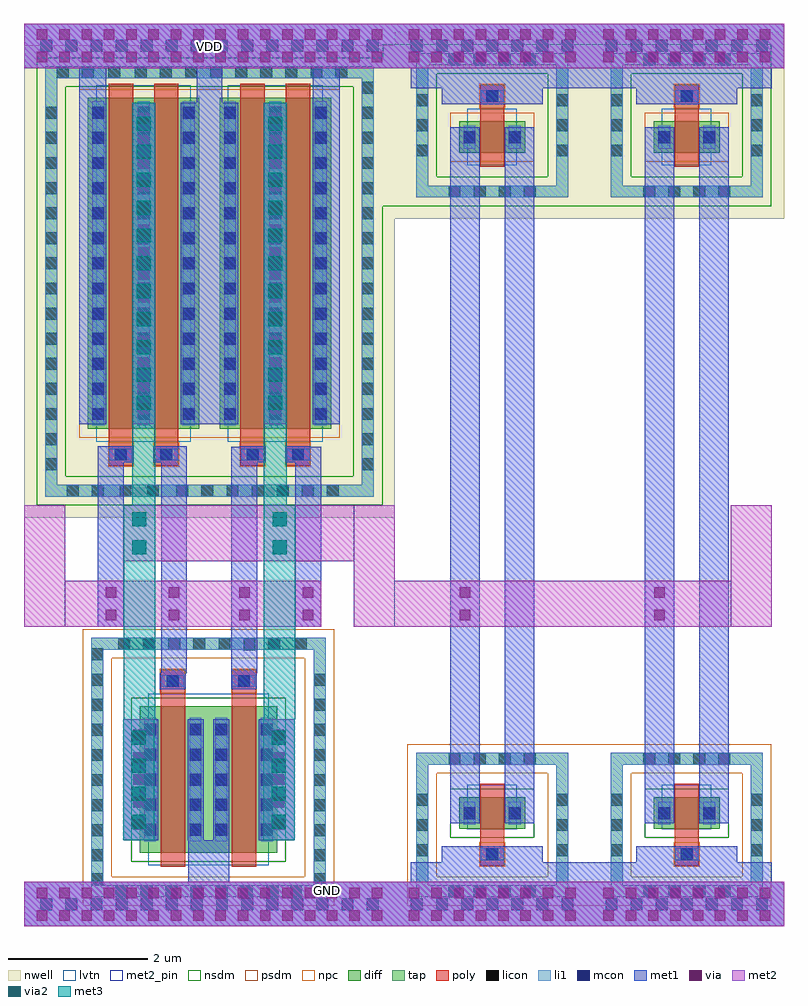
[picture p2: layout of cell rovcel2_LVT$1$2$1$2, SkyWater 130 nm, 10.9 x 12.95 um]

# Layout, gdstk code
from math import pi, radians
import gdstk
lib = gdstk.Library(unit=1e-6, precision=1e-09)
def R(c, l, rs):  # rectangles x0, y0, x1, y1
    for r in rs: c.add(gdstk.rectangle(r[:2], r[2:], *l))
def A(c, l, x, y, w, h, nx, ny, dx, dy):  # array of equal rectangles
    R(c, l, [(x+i*dx, y+j*dy, x+i*dx+w, y+j*dy+h) for i in range(nx) for j in range(ny)])
def P(c, l, *ps):  # polygons
    for p in ps: c.add(gdstk.Polygon(p, *l))
nwell = (64, 20)
diff = (65, 20)
tap = (65, 44)
poly = (66, 20)
licon = (66, 44)
li1 = (67, 20)
mcon = (67, 44)
met1 = (68, 20)
via = (68, 44)
met2_pin = (69, 16)
met2 = (69, 20)
via2 = (69, 44)
met3 = (70, 20)
nsdm = (93, 44)
psdm = (94, 20)
npc = (95, 20)
lvtn = (125, 44)

vias_gen_7_1_2_1_2 = lib.new_cell('vias_gen$7$1$2$1$2')

nfet_2_1_2_1_2 = lib.new_cell('nfet$2$1$2$1$2')

vias_gen_18_1_2_1_2 = lib.new_cell('vias_gen$18$1$2$1$2')

pfet_2_1_2_1_2 = lib.new_cell('pfet$2$1$2$1$2')

vias_gen_6_1_2_1_2 = lib.new_cell('vias_gen$6$1$2$1$2')

vias_gen_2_1_1_2_1_2 = lib.new_cell('vias_gen$2$1$1$2$1$2')

vias_gen_10_1_2_1_2 = lib.new_cell('vias_gen$10$1$2$1$2')

vias_gen_17_1_2_1_2 = lib.new_cell('vias_gen$17$1$2$1$2')
R(vias_gen_17_1_2_1_2, li1, [(0,0,2.79,0.64)])
A(vias_gen_17_1_2_1_2, mcon, 0.23, 0.235, 0.17, 0.17, 7, 1, 0.36, 0)
R(vias_gen_17_1_2_1_2, met1, [(0,0,2.79,0.64)])
A(vias_gen_17_1_2_1_2, via, 0.2, 0.085, 0.15, 0.15, 8, 2, 0.32, 0.32)
R(vias_gen_17_1_2_1_2, met2, [(0,0,2.79,0.64)])

vias_gen_8_1_2_1_2 = lib.new_cell('vias_gen$8$1$2$1$2')
R(vias_gen_8_1_2_1_2, met1, [(0,0,0.66,0.42)])
R(vias_gen_8_1_2_1_2, via, [(0.095,0.135,0.245,0.285), (0.415,0.135,0.565,0.285)])
R(vias_gen_8_1_2_1_2, met2, [(0,0,0.66,0.42)])

pfet_5_1_2_1_2 = lib.new_cell('pfet$5$1$2$1$2')
R(pfet_5_1_2_1_2, nwell, [(-0.92,-0.945,1.87,1.735)])
R(pfet_5_1_2_1_2, diff, [(0,0,0.95,0.45)])
P(pfet_5_1_2_1_2, tap, [(-0.615,-0.64),(-0.615,1.26),(-0.445,1.26),(-0.445,-0.47),(1.395,-0.47),(1.395,1.26),(-0.615,1.26),(-0.615,1.43),(1.565,1.43),(1.565,-0.64)])
R(pfet_5_1_2_1_2, poly, [(0.3,-0.2,0.65,0.65), (0.3,0.65,0.65,0.98)])
A(pfet_5_1_2_1_2, licon, -0.15, -0.64, 0.17, 0.17, 4, 2, 0.36, 1.9)
A(pfet_5_1_2_1_2, licon, -0.615, -0.05, 0.17, 0.17, 1, 3, 0, 0.36)
A(pfet_5_1_2_1_2, licon, 1.395, -0.05, 0.17, 0.17, 1, 3, 0, 0.36)
R(pfet_5_1_2_1_2, licon, [(0.065,0.14,0.235,0.31), (0.715,0.14,0.885,0.31), (0.39,0.73,0.56,0.9)])
R(pfet_5_1_2_1_2, li1, [(0.065,0.06,0.235,0.39), (0.715,0.06,0.885,0.39), (0.31,0.73,0.64,0.9)])
P(pfet_5_1_2_1_2, li1, [(-0.615,-0.64),(-0.615,1.26),(-0.445,1.26),(-0.445,-0.47),(1.395,-0.47),(1.395,1.26),(-0.615,1.26),(-0.615,1.43),(1.565,1.43),(1.565,-0.64)])
R(pfet_5_1_2_1_2, mcon, [(0.065,0.14,0.235,0.31), (0.715,0.14,0.885,0.31), (0.39,0.73,0.56,0.9)])
R(pfet_5_1_2_1_2, met1, [(0.005,0.08,0.295,0.37), (0.655,0.08,0.945,0.37), (0.29,0.7,0.66,0.93)])
P(pfet_5_1_2_1_2, nsdm, [(-0.74,-0.765),(-0.74,1.135),(-0.32,1.135),(-0.32,-0.345),(1.27,-0.345),(1.27,1.135),(-0.74,1.135),(-0.74,1.555),(1.69,1.555),(1.69,-0.765)])
R(pfet_5_1_2_1_2, psdm, [(-0.125,-0.125,1.075,0.575)])
R(pfet_5_1_2_1_2, npc, [(0.29,0.64,0.66,0.99)])
R(pfet_5_1_2_1_2, lvtn, [(0.12,-0.18,0.83,0.63)])

vias_gen_12_1_2_1_2 = lib.new_cell('vias_gen$12$1$2$1$2')
R(vias_gen_12_1_2_1_2, met2, [(0,0,0.45,0.8)])
R(vias_gen_12_1_2_1_2, via2, [(0.125,0.1,0.325,0.3), (0.125,0.5,0.325,0.7)])
R(vias_gen_12_1_2_1_2, met3, [(0,0,0.45,0.8)])

vias_gen_13_1_2_1_2 = lib.new_cell('vias_gen$13$1$2$1$2')
R(vias_gen_13_1_2_1_2, met1, [(0,0,4.61,0.33)])
A(vias_gen_13_1_2_1_2, via, 0.15, 0.09, 0.15, 0.15, 14, 1, 0.32, 0)
R(vias_gen_13_1_2_1_2, met2, [(0,0,4.61,0.33)])
A(vias_gen_13_1_2_1_2, via2, 0.205, 0.065, 0.2, 0.2, 11, 1, 0.4, 0)
R(vias_gen_13_1_2_1_2, met3, [(0,0,4.61,0.33)])

pfet_4_1_2_1_2 = lib.new_cell('pfet$4$1$2$1$2')
R(pfet_4_1_2_1_2, nwell, [(-0.305,-0.72,1.255,5.13)])
R(pfet_4_1_2_1_2, diff, [(0,0,0.95,4.75)])
R(pfet_4_1_2_1_2, poly, [(0.3,-0.53,0.65,-0.2), (0.3,-0.2,0.65,4.95)])
A(pfet_4_1_2_1_2, licon, 0.065, 0.13, 0.17, 0.17, 1, 13, 0, 0.36)
A(pfet_4_1_2_1_2, licon, 0.715, 0.13, 0.17, 0.17, 1, 13, 0, 0.36)
R(pfet_4_1_2_1_2, licon, [(0.39,-0.45,0.56,-0.28)])
R(pfet_4_1_2_1_2, li1, [(0.31,-0.45,0.64,-0.28), (0.065,0.05,0.235,4.7), (0.715,0.05,0.885,4.7)])
A(pfet_4_1_2_1_2, mcon, 0.065, 0.13, 0.17, 0.17, 1, 13, 0, 0.36)
A(pfet_4_1_2_1_2, mcon, 0.715, 0.13, 0.17, 0.17, 1, 13, 0, 0.36)
R(pfet_4_1_2_1_2, mcon, [(0.39,-0.45,0.56,-0.28)])
R(pfet_4_1_2_1_2, met1, [(0.29,-0.48,0.66,-0.25), (0.035,0.07,0.265,4.68), (0.685,0.07,0.915,4.68)])
R(pfet_4_1_2_1_2, psdm, [(-0.125,-0.125,1.075,4.875)])
R(pfet_4_1_2_1_2, npc, [(0.29,-0.54,0.66,-0.19)])
R(pfet_4_1_2_1_2, lvtn, [(0.12,-0.18,0.83,4.93)])

vias_gen_14_1_2_1_2 = lib.new_cell('vias_gen$14$1$2$1$2')
R(vias_gen_14_1_2_1_2, met1, [(0,0,0.37,0.66)])
R(vias_gen_14_1_2_1_2, via, [(0.11,0.095,0.26,0.245), (0.11,0.415,0.26,0.565)])
R(vias_gen_14_1_2_1_2, met2, [(0,0,0.37,0.66)])

vias_gen_15_1_2_1_2 = lib.new_cell('vias_gen$15$1$2$1$2')
R(vias_gen_15_1_2_1_2, li1, [(0,0,5.32,0.64)])
A(vias_gen_15_1_2_1_2, mcon, 0.235, 0.235, 0.17, 0.17, 14, 1, 0.36, 0)
R(vias_gen_15_1_2_1_2, met1, [(0,0,5.32,0.64)])
A(vias_gen_15_1_2_1_2, via, 0.185, 0.085, 0.15, 0.15, 16, 2, 0.32, 0.32)
R(vias_gen_15_1_2_1_2, met2, [(0,0,5.32,0.64)])

nfet_4_2_1_2 = lib.new_cell('nfet$4$2$1$2')
R(nfet_4_2_1_2, diff, [(0,0,0.95,2.1)])
R(nfet_4_2_1_2, poly, [(0.3,-0.2,0.65,2.3), (0.3,2.3,0.65,2.63)])
A(nfet_4_2_1_2, licon, 0.065, 0.245, 0.17, 0.17, 1, 5, 0, 0.36)
A(nfet_4_2_1_2, licon, 0.715, 0.245, 0.17, 0.17, 1, 5, 0, 0.36)
R(nfet_4_2_1_2, licon, [(0.39,2.38,0.56,2.55)])
R(nfet_4_2_1_2, li1, [(0.065,0.165,0.235,1.935), (0.715,0.165,0.885,1.935), (0.31,2.38,0.64,2.55)])
A(nfet_4_2_1_2, mcon, 0.065, 0.245, 0.17, 0.17, 1, 5, 0, 0.36)
A(nfet_4_2_1_2, mcon, 0.715, 0.245, 0.17, 0.17, 1, 5, 0, 0.36)
R(nfet_4_2_1_2, mcon, [(0.39,2.38,0.56,2.55)])
R(nfet_4_2_1_2, met1, [(0.035,0.185,0.265,1.915), (0.685,0.185,0.915,1.915), (0.29,2.35,0.66,2.58)])
R(nfet_4_2_1_2, nsdm, [(-0.125,-0.125,1.075,2.225)])
R(nfet_4_2_1_2, npc, [(0.29,2.29,0.66,2.64)])
R(nfet_4_2_1_2, lvtn, [(0.12,-0.18,0.83,2.28)])

vias_gen_16_1_2_1_2 = lib.new_cell('vias_gen$16$1$2$1$2')
R(vias_gen_16_1_2_1_2, met1, [(0,0,1.73,0.45)])
A(vias_gen_16_1_2_1_2, via, 0.15, 0.15, 0.15, 0.15, 5, 1, 0.32, 0)
R(vias_gen_16_1_2_1_2, met2, [(0,0,1.73,0.45)])
A(vias_gen_16_1_2_1_2, via2, 0.165, 0.125, 0.2, 0.2, 4, 1, 0.4, 0)
R(vias_gen_16_1_2_1_2, met3, [(0,0,1.73,0.45)])

nfet_3_1_2_1_2 = lib.new_cell('nfet$3$1$2$1$2')
R(nfet_3_1_2_1_2, diff, [(0,0,0.95,0.45)])
P(nfet_3_1_2_1_2, tap, [(-0.615,-0.98),(-0.615,0.92),(-0.445,0.92),(-0.445,-0.81),(1.395,-0.81),(1.395,0.92),(-0.615,0.92),(-0.615,1.09),(1.565,1.09),(1.565,-0.98)])
R(nfet_3_1_2_1_2, poly, [(0.3,-0.53,0.65,-0.2), (0.3,-0.2,0.65,0.65)])
A(nfet_3_1_2_1_2, licon, -0.15, -0.98, 0.17, 0.17, 4, 2, 0.36, 1.9)
A(nfet_3_1_2_1_2, licon, -0.615, -0.39, 0.17, 0.17, 1, 3, 0, 0.36)
A(nfet_3_1_2_1_2, licon, 1.395, -0.39, 0.17, 0.17, 1, 3, 0, 0.36)
R(nfet_3_1_2_1_2, licon, [(0.39,-0.45,0.56,-0.28), (0.065,0.14,0.235,0.31), (0.715,0.14,0.885,0.31)])
R(nfet_3_1_2_1_2, li1, [(0.31,-0.45,0.64,-0.28), (0.065,0.06,0.235,0.39), (0.715,0.06,0.885,0.39)])
P(nfet_3_1_2_1_2, li1, [(-0.615,-0.98),(-0.615,0.92),(-0.445,0.92),(-0.445,-0.81),(1.395,-0.81),(1.395,0.92),(-0.615,0.92),(-0.615,1.09),(1.565,1.09),(1.565,-0.98)])
R(nfet_3_1_2_1_2, mcon, [(0.39,-0.45,0.56,-0.28), (0.065,0.14,0.235,0.31), (0.715,0.14,0.885,0.31)])
R(nfet_3_1_2_1_2, met1, [(0.29,-0.48,0.66,-0.25), (0.005,0.08,0.295,0.37), (0.655,0.08,0.945,0.37)])
R(nfet_3_1_2_1_2, nsdm, [(-0.125,-0.125,1.075,0.575)])
P(nfet_3_1_2_1_2, psdm, [(-0.74,-1.105),(-0.74,0.795),(-0.32,0.795),(-0.32,-0.685),(1.27,-0.685),(1.27,0.795),(-0.74,0.795),(-0.74,1.215),(1.69,1.215),(1.69,-1.105)])
R(nfet_3_1_2_1_2, npc, [(0.29,-0.54,0.66,-0.19)])
R(nfet_3_1_2_1_2, lvtn, [(0.12,-0.005,0.83,0.63)])

sky130_fd_sc_hd__inv_1_1 = lib.new_cell('sky130_fd_sc_hd__inv_1$1$2$1$2')

rovcel2_lvt_1_2_1_2 = lib.new_cell('rovcel2_LVT$1$2$1$2')
R(rovcel2_lvt_1_2_1_2, nwell, [(-2.63,4.965,2.69,11.745)])
R(rovcel2_lvt_1_2_1_2, diff, [(-0.02,0.16,0.05,2.26), (-0.91,6.24,-0.755,10.99)])
R(rovcel2_lvt_1_2_1_2, tap, [(-1.665,-0.475,-1.495,3.245), (-1.495,-0.475,1.525,-0.305), (1.525,-0.475,1.695,3.245), (-1.495,3.075,1.525,3.245), (-2.325,5.27,2.215,5.44), (-2.325,5.27,-2.155,11.27), (-2.155,5.27,1.735,5.44), (2.215,5.27,2.385,11.27), (-2.325,11.27,2.385,11.44)])
A(rovcel2_lvt_1_2_1_2, licon, -0.6, -0.475, 0.17, 0.17, 3, 1, 0.36, 0)
A(rovcel2_lvt_1_2_1_2, licon, -1.665, 0.04, 0.17, 0.17, 1, 8, 0, 0.36)
A(rovcel2_lvt_1_2_1_2, licon, 1.525, 0.04, 0.17, 0.17, 1, 8, 0, 0.36)
A(rovcel2_lvt_1_2_1_2, licon, -1.28, 3.075, 0.17, 0.17, 5, 1, 0.36, 0)
A(rovcel2_lvt_1_2_1_2, licon, -0.445, 5.27, 0.17, 0.17, 7, 1, 0.36, 0)
A(rovcel2_lvt_1_2_1_2, licon, -2.325, 5.65, 0.17, 0.17, 1, 15, 0, 0.36)
A(rovcel2_lvt_1_2_1_2, licon, 2.215, 5.65, 0.17, 0.17, 1, 16, 0, 0.36)
A(rovcel2_lvt_1_2_1_2, licon, -1.8, 11.27, 0.17, 0.17, 3, 1, 0.38, 0)
A(rovcel2_lvt_1_2_1_2, licon, -0.68, 11.27, 0.17, 0.17, 7, 1, 0.36, 0)
R(rovcel2_lvt_1_2_1_2, licon, [(0.48,-0.48,0.65,-0.31), (-1.315,-0.475,-1.145,-0.305), (-0.955,-0.475,-0.785,-0.305), (0.845,-0.475,1.015,-0.305), (1.185,-0.475,1.355,-0.305), (-1.665,-0.305,-1.495,-0.135), (1.525,-0.305,1.695,-0.135), (-1.665,2.925,-1.495,3.095), (0.52,3.07,0.69,3.24), (0.875,3.075,1.045,3.245), (1.255,3.075,1.425,3.245), (-2.015,5.27,-1.845,5.44), (-1.655,5.27,-1.485,5.44), (-1.26,5.27,-1.09,5.44), (-1.26,5.27,-1.09,5.44), (-0.865,5.27,-0.695,5.44), (-0.865,5.27,-0.695,5.44), (-2.16,11.27,-1.99,11.44), (1.835,11.27,2.005,11.44)])
R(rovcel2_lvt_1_2_1_2, li1, [(-1.665,-0.475,-1.495,3.245), (-1.495,-0.475,1.525,-0.305), (1.525,-0.475,1.695,3.245), (-1.13,-0.425,1.32,-0.255), (-1.495,3.075,1.525,3.245), (-2.325,5.27,2.215,5.44), (-2.325,5.27,-2.155,11.27), (2.215,5.27,2.385,11.27), (-2.325,11.27,2.385,11.44)])
R(rovcel2_lvt_1_2_1_2, met1, [(-0.275,-0.26,0.315,0.345), (2.915,-0.255,8.095,0.025), (3.36,0.025,4.81,0.255), (6.15,0.025,7.6,0.255), (3.485,0.585,3.905,10.57), (4.265,0.585,4.685,10.57), (6.275,0.585,6.695,10.57), (7.055,0.585,7.475,10.57), (-0.665,2.74,-0.295,3.405), (0.345,2.74,0.715,3.405), (-1.57,4.065,-1.2,5.99), (-0.665,4.065,-0.295,5.99), (0.345,4.065,0.715,5.985), (1.26,4.065,1.63,5.985), (-1.84,6.31,-1.45,11.415), (-0.15,6.31,0.21,11.42), (1.51,6.31,1.9,11.415), (3.36,10.9,4.81,11.13), (6.15,10.9,7.6,11.13), (2.915,11.13,8.095,11.415)])
R(rovcel2_lvt_1_2_1_2, met2_pin, [(-2.63,-0.895,2.69,-0.255), (2.69,-0.895,5.48,-0.255), (5.48,-0.895,8.27,-0.255), (-2.63,3.405,-2.04,5.145), (2.1,3.405,2.69,5.145), (7.505,3.405,8.095,4.065), (7.505,3.405,8.095,5.145), (-2.63,11.415,2.69,12.055), (-2.08,11.415,8.12,12.055), (2.69,11.415,5.48,12.055), (5.48,11.415,8.27,12.055)])
R(rovcel2_lvt_1_2_1_2, met2, [(-2.63,-0.895,2.69,-0.255), (-2.63,3.405,1.63,4.065), (2.1,3.405,2.69,4.395), (2.69,3.405,8.095,4.065), (7.505,3.405,8.095,5.145), (-2.63,4.065,-2.04,5.145), (-1.2,4.345,2.69,5.145), (-2.63,11.415,2.69,12.055)])
R(rovcel2_lvt_1_2_1_2, met3, [(-1.2,2.075,-0.75,4.395), (0.81,2.075,1.26,4.395), (-1.08,5.145,-0.75,6.31), (0.81,5.145,1.14,6.31)])
R(rovcel2_lvt_1_2_1_2, nsdm, [(-2.45,5.145,2.515,5.565), (-2.05,5.145,2.515,5.565), (-2.05,5.145,2.515,5.565), (-2.05,5.145,2.515,5.565), (-2.45,5.565,-2.03,11.145), (2.095,5.565,2.515,11.145), (2.095,5.565,2.515,11.145), (2.515,9.435,2.87,11.755), (5.3,9.435,5.66,11.755), (-2.45,11.145,2.515,11.565)])
R(rovcel2_lvt_1_2_1_2, psdm, [(-1.79,-0.6,-1.37,3.37), (-1.37,-0.6,1.4,-0.18), (1.4,-0.6,1.82,3.37), (5.3,-0.6,5.66,1.72), (-1.37,2.95,1.4,3.37), (0.01,6.115,0.05,11.115)])
R(rovcel2_lvt_1_2_1_2, lvtn, [(-0.14,-0.02,0.17,2.44)])
rovcel2_lvt_1_2_1_2.add(gdstk.Reference(vias_gen_7_1_2_1_2, (-5.965,-3.4), rotation=pi/2))
rovcel2_lvt_1_2_1_2.add(gdstk.Reference(vias_gen_7_1_2_1_2, (-3.955,-3.4), rotation=pi/2))
rovcel2_lvt_1_2_1_2.add(gdstk.Reference(nfet_2_1_2_1_2, (-4.205,-3.585), rotation=pi, x_reflection=True))
rovcel2_lvt_1_2_1_2.add(gdstk.Reference(nfet_2_1_2_1_2, (-5.225,-3.585), rotation=pi, x_reflection=True))
rovcel2_lvt_1_2_1_2.add(gdstk.Reference(vias_gen_18_1_2_1_2, (-7.835,7.67)))
rovcel2_lvt_1_2_1_2.add(gdstk.Reference(pfet_2_1_2_1_2, (-5.03,2.49)))
rovcel2_lvt_1_2_1_2.add(gdstk.Reference(vias_gen_6_1_2_1_2, (-6.775,-0.34)))
rovcel2_lvt_1_2_1_2.add(gdstk.Reference(vias_gen_6_1_2_1_2, (-3.945,-0.34)))
rovcel2_lvt_1_2_1_2.add(gdstk.Reference(vias_gen_6_1_2_1_2, (-5.87,-0.34)))
rovcel2_lvt_1_2_1_2.add(gdstk.Reference(vias_gen_18_1_2_1_2, (-7.845,-4.64)))
rovcel2_lvt_1_2_1_2.add(gdstk.Reference(pfet_2_1_2_1_2, (-6.27,2.495)))
rovcel2_lvt_1_2_1_2.add(gdstk.Reference(vias_gen_6_1_2_1_2, (-4.86,-0.34)))
rovcel2_lvt_1_2_1_2.add(gdstk.Reference(pfet_2_1_2_1_2, (-4.38,2.49)))
rovcel2_lvt_1_2_1_2.add(gdstk.Reference(vias_gen_2_1_1_2_1_2, (-6.405,0.6)))
rovcel2_lvt_1_2_1_2.add(gdstk.Reference(vias_gen_10_1_2_1_2, (-5.955,2.565), rotation=pi/2))
rovcel2_lvt_1_2_1_2.add(gdstk.Reference(pfet_2_1_2_1_2, (-6.92,2.495)))
rovcel2_lvt_1_2_1_2.add(gdstk.Reference(vias_gen_10_1_2_1_2, (-4.065,2.565), rotation=pi/2))
rovcel2_lvt_1_2_1_2.add(gdstk.Reference(vias_gen_2_1_1_2_1_2, (-4.395,0.6)))
rovcel2_lvt_1_2_1_2.add(gdstk.Reference(vias_gen_17_1_2_1_2, (2.69,-0.895)))
rovcel2_lvt_1_2_1_2.add(gdstk.Reference(vias_gen_8_1_2_1_2, (3.905,3.405), rotation=pi/2))
rovcel2_lvt_1_2_1_2.add(gdstk.Reference(vias_gen_17_1_2_1_2, (2.69,11.415)))
rovcel2_lvt_1_2_1_2.add(gdstk.Reference(vias_gen_8_1_2_1_2, (6.695,3.405), rotation=pi/2))
rovcel2_lvt_1_2_1_2.add(gdstk.Reference(pfet_5_1_2_1_2, (3.61,10.2)))
rovcel2_lvt_1_2_1_2.add(gdstk.Reference(vias_gen_12_1_2_1_2, (0.81,4.345)))
rovcel2_lvt_1_2_1_2.add(gdstk.Reference(vias_gen_13_1_2_1_2, (1.14,6.31), rotation=pi/2))
rovcel2_lvt_1_2_1_2.add(gdstk.Reference(pfet_4_1_2_1_2, (-1.715,6.24)))
rovcel2_lvt_1_2_1_2.add(gdstk.Reference(vias_gen_13_1_2_1_2, (-0.75,6.31), rotation=pi/2))
rovcel2_lvt_1_2_1_2.add(gdstk.Reference(vias_gen_12_1_2_1_2, (-1.2,4.345)))
rovcel2_lvt_1_2_1_2.add(gdstk.Reference(pfet_4_1_2_1_2, (0.825,6.24)))
rovcel2_lvt_1_2_1_2.add(gdstk.Reference(vias_gen_14_1_2_1_2, (0.345,3.405)))
rovcel2_lvt_1_2_1_2.add(gdstk.Reference(pfet_4_1_2_1_2, (-1.065,6.24)))
rovcel2_lvt_1_2_1_2.add(gdstk.Reference(vias_gen_15_1_2_1_2, (-2.63,-0.895)))
rovcel2_lvt_1_2_1_2.add(gdstk.Reference(vias_gen_14_1_2_1_2, (-0.665,3.405)))
rovcel2_lvt_1_2_1_2.add(gdstk.Reference(vias_gen_14_1_2_1_2, (1.26,3.405)))
rovcel2_lvt_1_2_1_2.add(gdstk.Reference(vias_gen_14_1_2_1_2, (-1.57,3.405)))
rovcel2_lvt_1_2_1_2.add(gdstk.Reference(pfet_4_1_2_1_2, (0.175,6.24)))
rovcel2_lvt_1_2_1_2.add(gdstk.Reference(vias_gen_15_1_2_1_2, (-2.63,11.415)))
rovcel2_lvt_1_2_1_2.add(gdstk.Reference(nfet_4_2_1_2, (-0.02,0.16), rotation=pi, x_reflection=True))
rovcel2_lvt_1_2_1_2.add(gdstk.Reference(vias_gen_16_1_2_1_2, (1.25,0.345), rotation=pi/2))
rovcel2_lvt_1_2_1_2.add(gdstk.Reference(vias_gen_16_1_2_1_2, (-0.76,0.345), rotation=pi/2))
rovcel2_lvt_1_2_1_2.add(gdstk.Reference(nfet_3_1_2_1_2, (3.61,0.505)))
rovcel2_lvt_1_2_1_2.add(gdstk.Reference(vias_gen_17_1_2_1_2, (5.48,-0.895)))
rovcel2_lvt_1_2_1_2.add(gdstk.Reference(vias_gen_17_1_2_1_2, (5.48,11.415)))
rovcel2_lvt_1_2_1_2.add(gdstk.Reference(pfet_5_1_2_1_2, (6.4,10.2)))
rovcel2_lvt_1_2_1_2.add(gdstk.Reference(nfet_3_1_2_1_2, (6.4,0.505)))
rovcel2_lvt_1_2_1_2.add(gdstk.Reference(sky130_fd_sc_hd__inv_1_1, (-4.995,0.2)))
rovcel2_lvt_1_2_1_2.add(gdstk.Reference(nfet_4_2_1_2, (1,0.16), rotation=pi, x_reflection=True))
rovcel2_lvt_1_2_1_2.add(gdstk.Label('GND', (1.725,-0.385), layer=69, texttype=5))
rovcel2_lvt_1_2_1_2.add(gdstk.Label('VDD', (0.03,11.73), layer=69, texttype=5))

lib.write_gds('rovcel2_LVT_1_2_1_2.gds')
